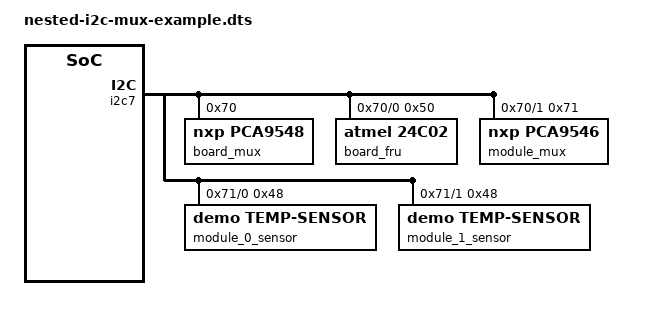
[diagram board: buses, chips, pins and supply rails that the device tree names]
/dts-v1/;
/plugin/;

/* A two-level example. Confirm the actual part variants and binding schemas. */

&i2c7 {
	status = "okay";

	board_mux: i2c-mux@70 {
		compatible = "nxp,pca9548";
		reg = <0x70>;
		#address-cells = <1>;
		#size-cells = <0>;
		i2c-mux-idle-disconnect;

		i2c@0 {
			reg = <0>;
			#address-cells = <1>;
			#size-cells = <0>;

			board_fru: eeprom@50 {
				compatible = "atmel,24c02";
				reg = <0x50>;
				pagesize = <8>;
			};
		};

		i2c@1 {
			reg = <1>;
			#address-cells = <1>;
			#size-cells = <0>;

			module_mux: i2c-mux@71 {
				compatible = "nxp,pca9546";
				reg = <0x71>;
				#address-cells = <1>;
				#size-cells = <0>;
				i2c-mux-idle-disconnect;

				i2c@0 {
					reg = <0>;
					#address-cells = <1>;
					#size-cells = <0>;

					module_0_sensor: sensor@48 {
						compatible = "demo,temp-sensor";
						reg = <0x48>;
					};
				};

				i2c@1 {
					reg = <1>;
					#address-cells = <1>;
					#size-cells = <0>;

					module_1_sensor: sensor@48 {
						compatible = "demo,temp-sensor";
						reg = <0x48>;
					};
				};
			};
		};
	};
};

